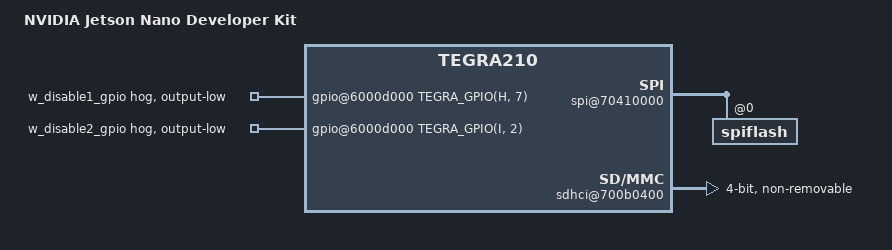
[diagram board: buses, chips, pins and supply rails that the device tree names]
/*
 * arch/arm64/boot/dts/tegra210-p3448-0000-p3449-0000-a02.dts
 *
 * Copyright (c) 2018-2019, NVIDIA CORPORATION.  All rights reserved.
 *
 * This program is free software; you can redistribute it and/or modify
 * it under the terms of the GNU General Public License as published by
 * the Free Software Foundation; version 2 of the License.
 *
 * This program is distributed in the hope that it will be useful, but WITHOUT
 * ANY WARRANTY; without even the implied warranty of MERCHANTABILITY or
 * FITNESS FOR A PARTICULAR PURPOSE.  See the GNU General Public License for
 * more details.
 *
 * You should have received a copy of the GNU General Public License along
 * with this program; if not, write to the Free Software Foundation, Inc.,
 * 51 Franklin Street, Fifth Floor, Boston, MA  02110-1301, USA.
 *
 */

#include "tegra210-porg-p3448-common.dtsi"
#include "porg-platforms/tegra210-porg-pinmux-p3448-0000-a02.dtsi"
#include "porg-platforms/tegra210-porg-gpio-p3448-0000-a02.dtsi"

/ {
	model = "NVIDIA Jetson Nano Developer Kit";
	compatible = "nvidia,p3449-0000-a02+p3448-0000-a02", "nvidia,jetson-nano", "nvidia,tegra210";
	nvidia,dtsfilename = __FILE__;

	spi@70410000 {
		status = "okay";
		spiflash@0 {
			controller-data {
				nvidia,x1-len-limit = <16>;
				nvidia,x4-bus-speed = <104000000>;
				nvidia,x4-dymmy-cycle = <8>;
			};
		};
	};

	gpio@6000d000 {
		/* gpio-name for 40-pin header, gpio-name given as COL(10) x ROW(20) */
		gpio-line-names = "",   "",     "",     "",     "",     "",     "",     "",     "",     "",
		"",     "",     "SPI1_MOSI",    "SPI1_MISO",    "SPI1_SCK",     "SPI1_CS0",     "SPI0_MOSI",    "SPI0_MISO",    "SPI0_SCK",     "SPI0_CS0",
		"SPI0_CS1",     "",     "",     "",     "",     "",     "",     "",     "",     "",
		"",     "",     "",     "",     "",     "",     "",     "",     "GPIO13",      "",
		"",     "",     "",     "",     "",     "",     "",     "",     "",     "",
		"UART1_RTS",    "UART1_CTS",    "",     "",     "",     "",     "",     "",     "",     "",
		"",     "",     "",     "",     "",     "",     "",     "",     "",     "",
		"",     "",     "",     "",     "",     "",     "I2S0_FS",    "I2S0_DIN",    "I2S0_DOUT",   "I2S0_SCLK",
		"",     "",     "",     "",     "",     "",     "",     "",     "",     "",
		"",     "",     "",     "",     "",     "",     "",     "",     "",     "",
		"",     "",     "",     "",     "",     "",     "",     "",     "",     "",
		"",     "",     "",     "",     "",     "",     "",     "",     "",     "",
		"",     "",     "",     "",     "",     "",     "",     "",     "",     "",
		"",     "",     "",     "",     "",     "",     "",     "",     "",     "",
		"",     "",     "",     "",     "",     "",     "",     "",     "",     "GPIO01",
		"",     "",     "",     "",     "",     "",     "",     "",     "",     "",
		"",     "",     "",     "",     "",     "",     "",     "",     "GPIO07",   "",
		"",     "",     "",     "",     "",     "",     "",     "",     "",     "",
		"",     "",     "",     "",     "",     "",     "",     "",     "",     "",
		"",     "",     "",     "",     "GPIO12",       "",     "",     "",     "",     "",
		"GPIO11",      "",     "",     "",     "",     "",     "",     "",     "",     "",
		"",     "",     "",     "",     "",     "",     "GPIO09",     "",     "",     "",
		"",     "",     "",     "",     "",     "",     "",     "",     "",     "",
		"",     "",     "SPI1_CS1",     "",     "",     "",     "",     "",     "",     "";

        /* The M.2 interface has 2 disable gpio pins, define them here by name and default them high to start. */
        w-disable1-gpio {
            gpio-hog;
            output-low;
            gpios = <TEGRA_GPIO(H, 7) GPIO_ACTIVE_HIGH>;
            label = "w_disable1_gpio";
            status = "okay";
        };

        w-disable2-gpio {
            gpio-hog;
            output-low;
            gpios = <TEGRA_GPIO(I, 2) GPIO_ACTIVE_HIGH>;
            label = "w_disable2_gpio";
            status = "okay";
        };
	};

    /* Enable the SDIO port in the M.2 interface */
    sdhci@700b0400 {
        status = "okay";
        cap-sdio-irq;
        non-removable;
        enable-sdio-wakeup;
        bus-width = <4>;
        only-1-8-v;
        force-non-removable-rescan;
        nvidia,disable-rtpm;
        max-clk-limit = <204000000>;
        tap-delay = <1>;
        mmc-ocr-mask = <0>;
        uhs-mask = <0x00000000>;
        /delete-property/ mmc-ddr-1_8v;
    };	
};
